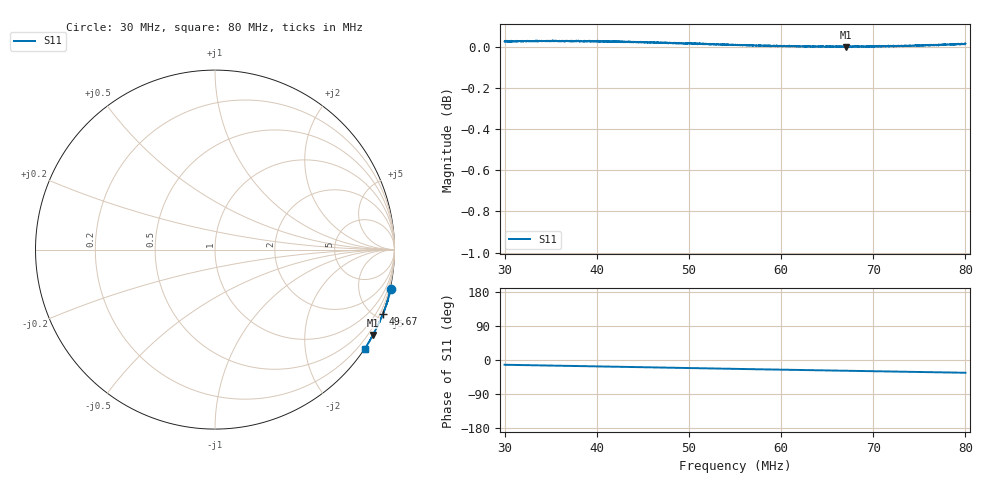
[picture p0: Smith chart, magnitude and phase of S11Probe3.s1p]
#  HZ  S  DB  R  50.00
! Rohde & Schwarz Vector Network Analyzer
! Rohde-Schwarz,ZNB8-4Port,1311601044102961,2.82
! Created: UTC 2/11/2019, 1:57:23 PM
! freq[Hz]  db:S11  ang:S11
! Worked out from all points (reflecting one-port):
!   2001 points, 30 MHz to 80 MHz, reference 50 ohm
!   lowest |S11| = 0.0 dB at 67.03 MHz (marker M1)
!   phase of S11 starts at -13 deg and turns -21 deg over the sweep
!   S11 on the Smith chart (normalised r, x): 30 MHz: -0.13, -9.07; 49.67 MHz: -0.03, -5.38; 80 MHz: -0.01, -3.31
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3e7  0.03 -12.6
3.02e7  0.03 -12.7
3.24e7  0.03 -13.6
3.5075e7  0.03 -14.7
3.625e7  0.03 -15.2
3.78e7  0.03 -15.9
3.84e7  0.03 -16.2
3.9275e7  0.03 -16.5
4.25e7  0.03 -17.9
4.5975e7  0.02 -19.5
4.875e7  0.02 -20.7
4.9675e7  0.02 -21.1
5.0125e7  0.02 -21.3
5.295e7  0.01 -22.5
5.5e7  0.01 -23.4
5.7775e7  0.01 -24.6
6.125e7  0.00 -26.1
6.2825e7  0.00 -26.7
6.445e7  0.00 -27.4
6.7025e7  -0.00 -28.5
6.75e7  0.00 -28.6
6.945e7  0.00 -29.4
7.175e7  0.00 -30.4
7.375e7  0.00 -31.2
7.6025e7  0.01 -32.1
7.7375e7  0.01 -32.6
7.9775e7  0.01 -33.5
8e7  0.02 -33.6
